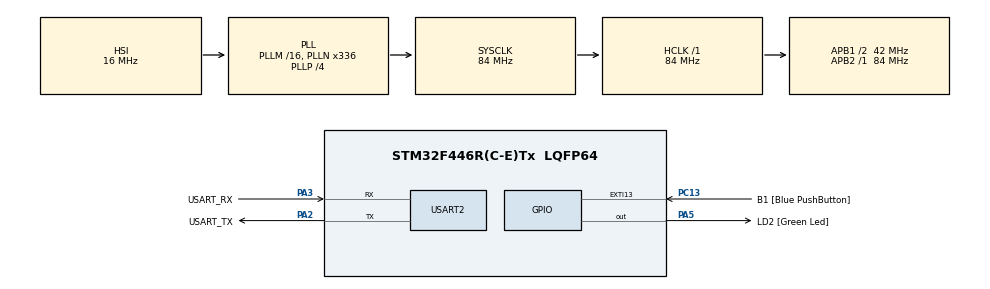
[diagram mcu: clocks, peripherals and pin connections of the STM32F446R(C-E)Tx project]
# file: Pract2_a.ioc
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Mcu.Family=STM32F4
Mcu.Name=STM32F446R(C-E)Tx
Mcu.Package=LQFP64
NVIC.EXTI15_10_IRQn=true\:0\:0\:false\:false\:true\:true\:true\:true
NVIC.PriorityGroup=NVIC_PRIORITYGROUP_0
PA13.GPIO_Label=TMS
PA13.Mode=Serial_Wire
PA13.Signal=SYS_JTMS-SWDIO
PA14.GPIO_Label=TCK
PA14.Mode=Serial_Wire
PA14.Signal=SYS_JTCK-SWCLK
PA2.GPIO_Label=USART_TX
PA2.Mode=Asynchronous
PA2.Signal=USART2_TX
PA3.GPIO_Label=USART_RX
PA3.Mode=Asynchronous
PA3.Signal=USART2_RX
PA5.GPIO_Label=LD2 [Green Led]
PA5.Signal=GPIO_Output
PB3.GPIO_Label=SWO
PB3.Signal=SYS_JTDO-SWO
PC13.GPIO_Label=B1 [Blue PushButton]
PC13.GPIO_ModeDefaultEXTI=GPIO_MODE_IT_FALLING
PC13.Signal=GPXTI13
PC14-OSC32_IN.Mode=LSE-External-Oscillator
PC14-OSC32_IN.Signal=RCC_OSC32_IN
PC15-OSC32_OUT.Mode=LSE-External-Oscillator
PC15-OSC32_OUT.Signal=RCC_OSC32_OUT
PH0-OSC_IN.Mode=HSE-External-Oscillator
PH0-OSC_IN.Signal=RCC_OSC_IN
PH1-OSC_OUT.Mode=HSE-External-Oscillator
PH1-OSC_OUT.Signal=RCC_OSC_OUT
ProjectManager.HeapSize=0x200
ProjectManager.StackSize=0x400
ProjectManager.TargetToolchain=STM32CubeIDE
RCC.48MHZClocksFreq_Value=84000000
RCC.AHBFreq_Value=84000000
RCC.APB1CLKDivider=RCC_HCLK_DIV2
RCC.APB1Freq_Value=42000000
RCC.APB1TimFreq_Value=84000000
RCC.APB2Freq_Value=84000000
RCC.APB2TimFreq_Value=84000000
RCC.CortexFreq_Value=84000000
RCC.FLatency-AdvancedSettings=FLASH_LATENCY_2
RCC.HCLKFreq_Value=84000000
RCC.HSE_VALUE=8000000
RCC.HSI_VALUE=16000000
RCC.PLLN=336
RCC.PLLP=RCC_PLLP_DIV4
RCC.SYSCLKFreq_VALUE=84000000
RCC.SYSCLKSource=RCC_SYSCLKSOURCE_PLLCLK
RCC.USBFreq_Value=168000000
RCC.VCOOutputFreq_Value=336000000
USART2.VirtualMode=VM_ASYNC
board=NUCLEO-F446RE

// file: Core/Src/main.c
/* USER CODE BEGIN Header */
/**
  ******************************************************************************
  * @file           : main.c
  * @brief          : Main program body
  ******************************************************************************
  * @attention
  *
  * Copyright (c) 2026 STMicroelectronics.
  * All rights reserved.
  *
  * This software is licensed under terms that can be found in the LICENSE file
  * in the root directory of this software component.
  * If no LICENSE file comes with this software, it is provided AS-IS.
  *
  ******************************************************************************
  */
/* USER CODE END Header */
#include "main.h"
#include "usart.h"
#include "gpio.h"

/* USER CODE BEGIN PV */
delay_t ledDelay;
/* USER CODE END PV */

void SystemClock_Config(void);
/* USER CODE BEGIN PFP */
void delayInit( delay_t * delay, tick_t duration_){ //Configuración exclusivamente
	delay -> duration = duration_;
	delay -> running = false;
}

bool_t delayRead(delay_t * delay){
	if(delay->running==false){
		delay-> startTime = HAL_GetTick();
		delay -> running = true;
		return false;

	} else{
		if((HAL_GetTick() - delay-> startTime) >= delay -> duration){
			delay->running=false;
			return true;
		}
	}
	return false;
}

void delayWrite(delay_t * delay, tick_t duration_){
	delay -> duration = duration_;
}

/* USER CODE END PFP */

int main(void)
{

  /* MCU Configuration--------------------------------------------------------*/

  /* Reset of all peripherals, Initializes the Flash interface and the Systick. */
  HAL_Init();

  /* Configure the system clock */
  SystemClock_Config();

  /* Initialize all configured peripherals */
  MX_GPIO_Init();
  MX_USART2_UART_Init();

  /* Infinite loop */
  /* USER CODE BEGIN WHILE */
  delayInit(&ledDelay, 100);
  while (1)
  {
    /* USER CODE END WHILE */

    /* USER CODE BEGIN 3 */
	  if(delayRead(&ledDelay)){
	 		  HAL_GPIO_TogglePin(GPIOA, GPIO_PIN_5);
	 	  }
  }
  /* USER CODE END 3 */
}

void SystemClock_Config(void)
{
  RCC_OscInitTypeDef RCC_OscInitStruct = {0};
  RCC_ClkInitTypeDef RCC_ClkInitStruct = {0};

  /** Configure the main internal regulator output voltage
  */
  __HAL_RCC_PWR_CLK_ENABLE();
  __HAL_PWR_VOLTAGESCALING_CONFIG(PWR_REGULATOR_VOLTAGE_SCALE3);

  /** Initializes the RCC Oscillators according to the specified parameters
  * in the RCC_OscInitTypeDef structure.
  */
  RCC_OscInitStruct.OscillatorType = RCC_OSCILLATORTYPE_HSI;
  RCC_OscInitStruct.HSIState = RCC_HSI_ON;
  RCC_OscInitStruct.HSICalibrationValue = RCC_HSICALIBRATION_DEFAULT;
  RCC_OscInitStruct.PLL.PLLState = RCC_PLL_ON;
  RCC_OscInitStruct.PLL.PLLSource = RCC_PLLSOURCE_HSI;
  RCC_OscInitStruct.PLL.PLLM = 16;
  RCC_OscInitStruct.PLL.PLLN = 336;
  RCC_OscInitStruct.PLL.PLLP = RCC_PLLP_DIV4;
  RCC_OscInitStruct.PLL.PLLQ = 2;
  RCC_OscInitStruct.PLL.PLLR = 2;
  if (HAL_RCC_OscConfig(&RCC_OscInitStruct) != HAL_OK)
  {
    Error_Handler();
  }

  /** Initializes the CPU, AHB and APB buses clocks
  */
  RCC_ClkInitStruct.ClockType = RCC_CLOCKTYPE_HCLK|RCC_CLOCKTYPE_SYSCLK
                              |RCC_CLOCKTYPE_PCLK1|RCC_CLOCKTYPE_PCLK2;
  RCC_ClkInitStruct.SYSCLKSource = RCC_SYSCLKSOURCE_PLLCLK;
  RCC_ClkInitStruct.AHBCLKDivider = RCC_SYSCLK_DIV1;
  RCC_ClkInitStruct.APB1CLKDivider = RCC_HCLK_DIV2;
  RCC_ClkInitStruct.APB2CLKDivider = RCC_HCLK_DIV1;

  if (HAL_RCC_ClockConfig(&RCC_ClkInitStruct, FLASH_LATENCY_2) != HAL_OK)
  {
    Error_Handler();
  }
}

void Error_Handler(void)
{
  __disable_irq();
  while (1)
  {
  }
}
